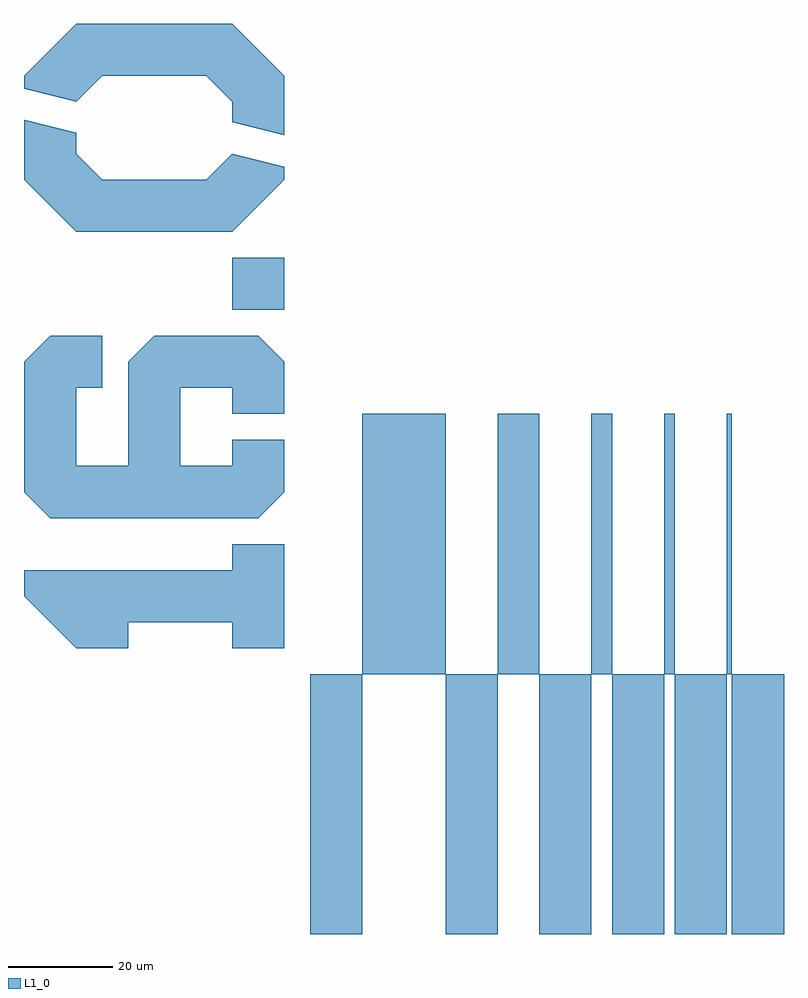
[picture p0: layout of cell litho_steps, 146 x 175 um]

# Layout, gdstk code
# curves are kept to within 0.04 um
from math import pi, radians
import gdstk
lib = gdstk.Library(unit=1e-6, precision=1e-09)
def R(c, l, rs):  # rectangles x0, y0, x1, y1
    for r in rs: c.add(gdstk.rectangle(r[:2], r[2:], *l))
def P(c, l, *ps):  # polygons
    for p in ps: c.add(gdstk.Polygon(p, *l))
L1_0 = (1, 0)

text_7b2c07c3 = lib.new_cell('text_7b2c07c3')
P(text_7b2c07c3, L1_0, [(10,30),(5,30),(5,40),(15,50),(20,50),(20,10),(25,10),(25,0),(5,0),(5,10),(10,10)],
  [(65,35),(55,35),(55,40),(40,40),(40,30),(60,30),(65,25),(65,5),(60,0),(50,0),(50,10),(55,10),(55,20),(40,20),(40,10),(45,10),(45,0),(35,0),(30,5),(30,45),(35,50),(60,50),(65,45)],
  [(80,10),(80,0),(70,0),(70,10),(80,10)],
  [(100,40),(95,35),(95,15),(100,10),(97.5,0),(95,0),(85,10),(85,40),(95,50),(106.5,50),(104,40),(100,40)],
  [(110,10),(115,15),(115,35),(110,40),(112.5,50),(115,50),(125,40),(125,10),(115,0),(103.5,0),(106,10),(110,10)])

compass_eb1308fb = lib.new_cell('compass_eb1308fb')
R(compass_eb1308fb, L1_0, [(-5,-25,5,25)])

rectangle_eb1308fb = lib.new_cell('rectangle_eb1308fb')
rectangle_eb1308fb.add(gdstk.Reference(compass_eb1308fb, (5,25)))

compass_55952db1 = lib.new_cell('compass_55952db1')
R(compass_55952db1, L1_0, [(-8,-25,8,25)])

rectangle_55952db1 = lib.new_cell('rectangle_55952db1')
rectangle_55952db1.add(gdstk.Reference(compass_55952db1, (8,25)))

compass_a43f2b99 = lib.new_cell('compass_a43f2b99')
R(compass_a43f2b99, L1_0, [(-4,-25,4,25)])

rectangle_a43f2b99 = lib.new_cell('rectangle_a43f2b99')
rectangle_a43f2b99.add(gdstk.Reference(compass_a43f2b99, (4,25)))

compass_58cee83a = lib.new_cell('compass_58cee83a')
R(compass_58cee83a, L1_0, [(-2,-25,2,25)])

rectangle_58cee83a = lib.new_cell('rectangle_58cee83a')
rectangle_58cee83a.add(gdstk.Reference(compass_58cee83a, (2,25)))

compass_70308ad5 = lib.new_cell('compass_70308ad5')
R(compass_70308ad5, L1_0, [(-1,-25,1,25)])

rectangle_70308ad5 = lib.new_cell('rectangle_70308ad5')
rectangle_70308ad5.add(gdstk.Reference(compass_70308ad5, (1,25)))

compass_a920f2aa = lib.new_cell('compass_a920f2aa')
R(compass_a920f2aa, L1_0, [(-0.5,-25,0.5,25)])

rectangle_a920f2aa = lib.new_cell('rectangle_a920f2aa')
rectangle_a920f2aa.add(gdstk.Reference(compass_a920f2aa, (0.5,25)))

litho_steps = lib.new_cell('litho_steps')
litho_steps.add(gdstk.Reference(text_7b2c07c3, (-5,0), rotation=pi/2))
litho_steps.add(gdstk.Reference(rectangle_eb1308fb, (0,-50)))
litho_steps.add(gdstk.Reference(rectangle_eb1308fb, (26,-50)))
litho_steps.add(gdstk.Reference(rectangle_55952db1, (10,0)))
litho_steps.add(gdstk.Reference(rectangle_eb1308fb, (44,-50)))
litho_steps.add(gdstk.Reference(rectangle_a43f2b99, (36,0)))
litho_steps.add(gdstk.Reference(rectangle_eb1308fb, (58,-50)))
litho_steps.add(gdstk.Reference(rectangle_58cee83a, (54,0)))
litho_steps.add(gdstk.Reference(rectangle_eb1308fb, (70,-50)))
litho_steps.add(gdstk.Reference(rectangle_70308ad5, (68,0)))
litho_steps.add(gdstk.Reference(rectangle_eb1308fb, (81,-50)))
litho_steps.add(gdstk.Reference(rectangle_a920f2aa, (80,0)))

lib.write_gds('litho_steps.gds')
